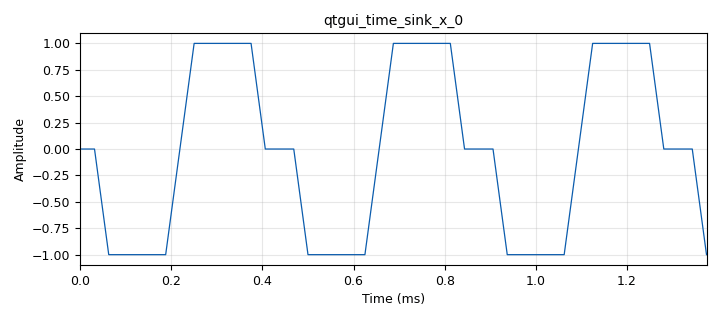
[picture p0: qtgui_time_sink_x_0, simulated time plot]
options:
  parameters:
    generate_options: qt_gui
    id: diferenciador
    output_language: python
    title: Not titled yet
  states: {}

blocks:
- name: samp_rate
  id: variable
  parameters:
    value: '32000'
  states: {}
- name: blocks_throttle2_0
  id: blocks_throttle2
  parameters:
    samples_per_second: samp_rate
    type: float
  states: {}
- name: blocks_vector_source_x_0
  id: blocks_vector_source_x
  parameters:
    repeat: 'True'
    type: float
    vector: (0, 1, 2, 3, 4, 5, 5, 5, 5, 4, 3, 2, 1, 0)
  states: {}
- name: epy_block_0
  id: epy_block
  parameters:
    _source_code: |-
      """
      Embedded Python Blocks:

      Each time this file is saved, GRC will instantiate the first class it finds
      to get ports and parameters of your block. The arguments to __init__  will
      be the parameters. All of them are required to have default values!
      """

      import numpy as np
      from gnuradio import gr

      class blk(gr.sync_block):
          """Bloque Diferenciador Discreto: y[n] = x[n] - x[n-1]"""

          def __init__(self):
              gr.sync_block.__init__(
                  self,
                  name='e_Diff',        
                  in_sig=[np.float32],
                  out_sig=[np.float32]
              )
              self.x_anterior = 0.0     
          def work(self, input_items, output_items):
              x = input_items[0]       
              y0 = output_items[0]     

              if len(x) > 0:
                 
                  x_extendido = np.insert(x, 0, self.x_anterior)
                  
                  y0[:] = np.diff(x_extendido)
                  
                  self.x_anterior = x[-1]

              return len(y0)
  states: {}
- name: qtgui_time_sink_x_0
  id: qtgui_time_sink_x
  parameters:
    autoscale: 'True'
    size: '45'
    srate: samp_rate
    type: float
  states: {}

connections:
- [blocks_throttle2_0, '0', qtgui_time_sink_x_0, '0']
- [blocks_vector_source_x_0, '0', epy_block_0, '0']
- [epy_block_0, '0', blocks_throttle2_0, '0']

metadata:
  file_format: 1
  grc_version: 3.10.12.0
